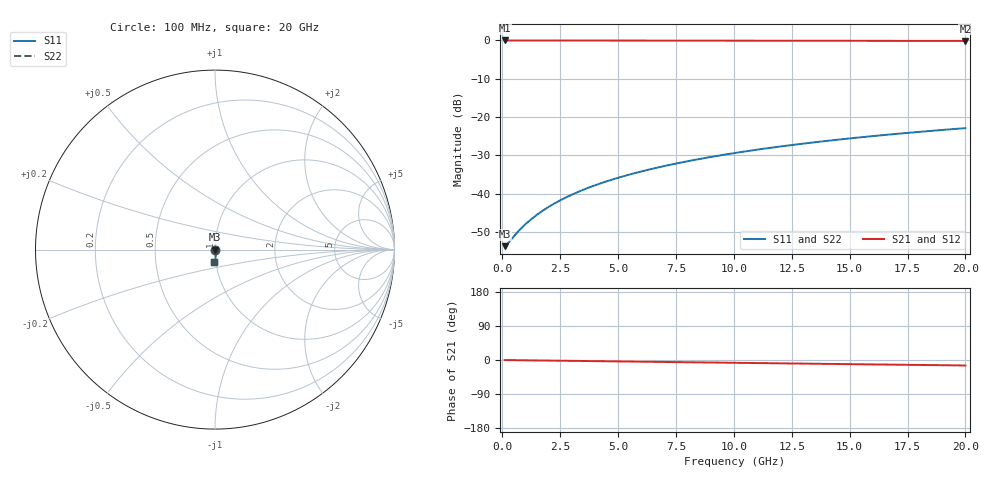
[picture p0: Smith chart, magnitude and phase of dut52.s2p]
! Touchstone file exported from HFSS 2026.1.0
!  File:  C:/ffzhzh/LocalFiles/Ansys_Project_Files/temp_train_BSMRDL_52_1782882589_43084.aedt
!  Generated:  01:10:55 PM Jul  1, 2026
!  Design:  BSMRDL
!  Project:  temp_train_BSMRDL_52_1782882589_43084
! Variables:
!  h_bsmrdl = 3.6um
!  h_ox = 20um
!  h_rdl = 5um
!  h_sub = 80um
!  h_tmrdl = 5um
!  h_tsv = 80um
!  h_via = 3um
!  l_bsmrdl = 243.14um
!  l_sub = 643.14um
!  l_tmrdl = 200um
!  m_sub = 200um
!  pitch = 14.17um
!  r_tsv = 6um
!  s_tmrdl = 10um
!  w_bsmrdl = 12.63um
!  w_sub = 500um
!  w_tmrdl = 12um
!  x_tsv_center1 = 206um
!  x_tsv_center2 = 461.77um
!  x_tsv_center3 = 673.77um
!  x_tsv_center4 = 929.54um
!  x_tsv_center5 = 1141.54um
!  x_tsv_center6 = 1397.31um
# GHz S MA R 50.000000
! Terminal data exported
! Port[1] = BSM_RDL1_1_T1
! Port[2] = BSM_RDL1_1_T2
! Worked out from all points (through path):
!   200 points, 100 MHz to 20 GHz, reference 50 ohm
!   highest |S21| = -0.02 dB at 100 MHz (marker M1); lowest = -0.1 dB at 20 GHz (marker M2)
!   group delay of S21, straight-line fit = 2 ps
!   lowest |S11| = -53.7 dB at 100 MHz (marker M3), VSWR 1.00, Z = 50.2 - j0.00251 ohm
!   |S11| at or under -10 dB: start of sweep to end of sweep
!   |S22| runs from -53.7 to -22.9 dB; largest |S21 - S12| = 2.1e-15
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0.1  0.002068 -0.7  0.9979 -0.1  0.9979 -0.1  0.002068 -0.7
! Gamma 0 0 0 0
! Port Impedance 50 0 50 0
0.2  0.002186 -2.2  0.9978 -0.2  0.9978 -0.2  0.002186 -2.2
0.6  0.003015 -17.0  0.9971 -0.5  0.9971 -0.5  0.003015 -17.0
0.9  0.003744 -29.3  0.9967 -0.7  0.9967 -0.7  0.003744 -29.3
1.2  0.004513 -39.0  0.9964 -1.0  0.9964 -1.0  0.004513 -39.0
1.6  0.005594 -48.5  0.9962 -1.3  0.9962 -1.3  0.005594 -48.5
2  0.006726 -55.2  0.996 -1.5  0.996 -1.5  0.006726 -55.2
2.5  0.008196 -61.0  0.9958 -1.9  0.9958 -1.9  0.008196 -61.0
3  0.009713 -65.2  0.9955 -2.3  0.9955 -2.3  0.009713 -65.2
3.5  0.01127 -68.2  0.9953 -2.7  0.9953 -2.7  0.01127 -68.2
4.2  0.0135 -71.4  0.9949 -3.2  0.9949 -3.2  0.0135 -71.4
5  0.01613 -74.0  0.9944 -3.8  0.9944 -3.8  0.01613 -74.0
5.9  0.01916 -76.3  0.9939 -4.4  0.9939 -4.4  0.01916 -76.3
6.8  0.02227 -78.1  0.9932 -5.1  0.9932 -5.1  0.02227 -78.1
7.6  0.02509 -79.5  0.9927 -5.7  0.9927 -5.7  0.02509 -79.5
8.4  0.02796 -80.7  0.9921 -6.3  0.9921 -6.3  0.02796 -80.7
10.1  0.03417 -83.1  0.9909 -7.5  0.9909 -7.5  0.03417 -83.1
11.7  0.04013 -85.1  0.9898 -8.6  0.9898 -8.6  0.04013 -85.1
13.4  0.04654 -87.0  0.9886 -9.8  0.9886 -9.8  0.04655 -87.0
15  0.05262 -88.8  0.9875 -11.0  0.9875 -11.0  0.05262 -88.8
16.7  0.0591 -90.6  0.9863 -12.2  0.9863 -12.2  0.0591 -90.6
20  0.07166 -93.8  0.984 -14.5  0.984 -14.5  0.07167 -93.8
